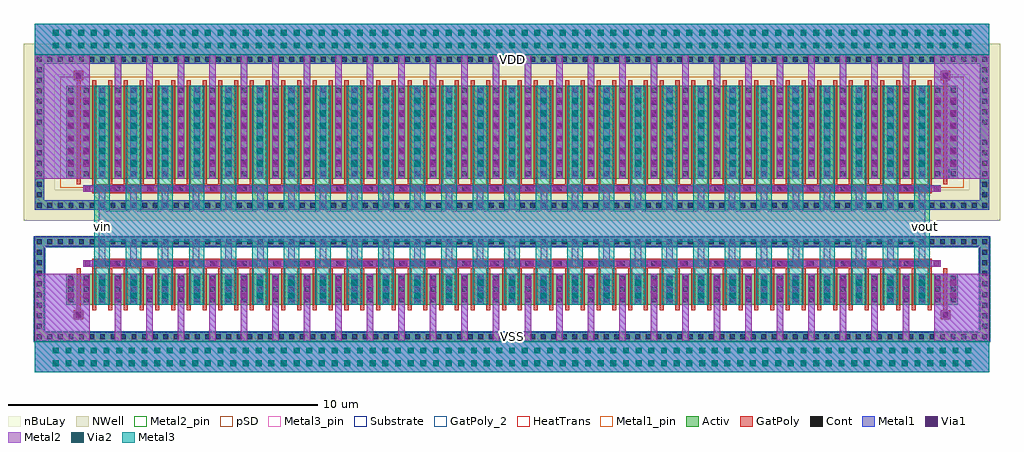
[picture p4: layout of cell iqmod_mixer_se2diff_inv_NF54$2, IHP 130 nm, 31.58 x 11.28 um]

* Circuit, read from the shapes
.subckt iqmod_mixer_se2diff_inv_NF54$2 VDD VSS vin vout
XM1 VSS VSS VSS VSS sg13_lv_nmos w=1u l=0.13u m=2
XM2 vout vin VSS VSS sg13_lv_nmos w=1u l=0.13u m=54
XM3 VDD VDD VDD VDD sg13_lv_pmos w=3u l=0.13u m=2
XM4 vout vin VDD VDD sg13_lv_pmos w=3u l=0.13u m=54
.ends

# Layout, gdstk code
from math import pi, radians
import gdstk
lib = gdstk.Library(unit=1e-6, precision=5e-09)
def R(c, l, rs):  # rectangles x0, y0, x1, y1
    for r in rs: c.add(gdstk.rectangle(r[:2], r[2:], *l))
def A(c, l, x, y, w, h, nx, ny, dx, dy):  # array of equal rectangles
    R(c, l, [(x+i*dx, y+j*dy, x+i*dx+w, y+j*dy+h) for i in range(nx) for j in range(ny)])
def P(c, l, *ps):  # polygons
    for p in ps: c.add(gdstk.Polygon(p, *l))
Activ = (1, 0)
GatPoly = (5, 0)
GatPoly_2 = (5, 2)
Cont = (6, 0)
Metal1 = (8, 0)
Metal1_pin = (8, 2)
Metal2 = (10, 0)
Metal2_pin = (10, 2)
pSD = (14, 0)
Via1 = (19, 0)
Via2 = (29, 0)
Metal3 = (30, 0)
Metal3_pin = (30, 2)
NWell = (31, 0)
nBuLay = (32, 0)
Substrate = (40, 0)
HeatTrans = (51, 0)

pmos_17 = lib.new_cell('pmos$17')
A(pmos_17, Activ, 0, 0, 0.3, 0.3, 57, 1, 0.51, 0)
R(pmos_17, Activ, [(-1.01,-0.71,-0.71,3.71), (29.57,-0.71,29.87,3.71), (0,0,28.86,3), (-1.01,3.71,29.87,4.01)])
P(pmos_17, Activ, [(-1.01,-1.01),(-1.01,3.71),(-0.71,3.71),(-0.71,-0.71),(29.57,-0.71),(29.57,3.71),(-1.01,3.71),(-1.01,4.01),(29.87,4.01),(29.87,-1.01)])
A(pmos_17, GatPoly, 0.34, -0.18, 0.13, 3.36, 56, 1, 0.51, 0)
R(pmos_17, GatPoly, [(0.34,-0.18,0.47,3.18)])
A(pmos_17, Cont, -0.94, -0.94, 0.16, 0.16, 45, 2, 0.34, 4.72)
A(pmos_17, Cont, 14.68, -0.94, 0.16, 0.16, 45, 2, 0.34, 4.72)
A(pmos_17, Cont, -0.94, -0.6, 0.16, 0.16, 1, 6, 0, 0.34)
A(pmos_17, Cont, 29.64, -0.6, 0.16, 0.16, 1, 6, 0, 0.34)
A(pmos_17, Cont, 0.07, 0.07, 0.16, 0.16, 57, 7, 0.51, 0.385)
A(pmos_17, Cont, -0.94, 1.74, 0.16, 0.16, 1, 6, 0, 0.34)
A(pmos_17, Cont, 29.64, 1.74, 0.16, 0.16, 1, 6, 0, 0.34)
A(pmos_17, Cont, 0.07, 2.77, 0.16, 0.16, 57, 1, 0.51, 0)
A(pmos_17, Metal1, 0.58, 0, 0.16, 3, 56, 1, 0.51, 0)
R(pmos_17, Metal1, [(-1.01,-1.01,29.87,-0.71), (-1.01,-0.71,-0.71,3.71), (29.57,-0.71,29.87,3.71), (0.07,0,0.23,3), (0.07,0,0.23,3), (0.58,0,0.74,3), (-1.01,3.71,29.87,4.01)])
R(pmos_17, pSD, [(-0.18,-0.3,29.04,3.3)])
R(pmos_17, NWell, [(-1.36,-1.36,30.22,4.36), (-0.31,-0.31,29.17,3.31)])
R(pmos_17, nBuLay, [(-1.36,-0.36,-0.36,3.36), (29.22,-0.36,30.22,3.36), (-1.36,3.36,30.22,4.36)])
P(pmos_17, nBuLay, [(-1.36,-1.36),(-1.36,3.36),(-0.36,3.36),(-0.36,-0.36),(29.22,-0.36),(29.22,3.36),(-1.36,3.36),(-1.36,4.36),(30.22,4.36),(30.22,-1.36)])
R(pmos_17, Substrate, [(28.56,0,28.86,0.3)])
A(pmos_17, HeatTrans, 0.34, -0.18, 0.13, 3.36, 56, 1, 0.51, 0)
pmos_17.add(gdstk.Label('pmos', (0.405,1.5), layer=63, texttype=0))
pmos_17.add(gdstk.Label('well', (14.43,-0.86), layer=63, texttype=0))
pmos_17.add(gdstk.Label('pmos', (0.405,1.5), layer=51, texttype=0))
pmos_17.add(gdstk.Label('pmos', (0.915,1.5), layer=51, texttype=0))
pmos_17.add(gdstk.Label('pmos', (1.425,1.5), layer=51, texttype=0))
pmos_17.add(gdstk.Label('pmos', (1.935,1.5), layer=51, texttype=0))
pmos_17.add(gdstk.Label('pmos', (2.445,1.5), layer=51, texttype=0))
pmos_17.add(gdstk.Label('pmos', (2.955,1.5), layer=51, texttype=0))
pmos_17.add(gdstk.Label('pmos', (3.465,1.5), layer=51, texttype=0))
pmos_17.add(gdstk.Label('pmos', (3.975,1.5), layer=51, texttype=0))
pmos_17.add(gdstk.Label('pmos', (4.485,1.5), layer=51, texttype=0))
pmos_17.add(gdstk.Label('pmos', (4.995,1.5), layer=51, texttype=0))
pmos_17.add(gdstk.Label('pmos', (5.505,1.5), layer=51, texttype=0))
pmos_17.add(gdstk.Label('pmos', (6.015,1.5), layer=51, texttype=0))
pmos_17.add(gdstk.Label('pmos', (6.525,1.5), layer=51, texttype=0))
pmos_17.add(gdstk.Label('pmos', (7.035,1.5), layer=51, texttype=0))
pmos_17.add(gdstk.Label('pmos', (7.545,1.5), layer=51, texttype=0))
pmos_17.add(gdstk.Label('pmos', (8.055,1.5), layer=51, texttype=0))
pmos_17.add(gdstk.Label('pmos', (8.565,1.5), layer=51, texttype=0))
pmos_17.add(gdstk.Label('pmos', (9.075,1.5), layer=51, texttype=0))
pmos_17.add(gdstk.Label('pmos', (9.585,1.5), layer=51, texttype=0))
pmos_17.add(gdstk.Label('pmos', (10.095,1.5), layer=51, texttype=0))
pmos_17.add(gdstk.Label('pmos', (10.605,1.5), layer=51, texttype=0))
pmos_17.add(gdstk.Label('pmos', (11.115,1.5), layer=51, texttype=0))
pmos_17.add(gdstk.Label('pmos', (11.625,1.5), layer=51, texttype=0))
pmos_17.add(gdstk.Label('pmos', (12.135,1.5), layer=51, texttype=0))
pmos_17.add(gdstk.Label('pmos', (12.645,1.5), layer=51, texttype=0))
pmos_17.add(gdstk.Label('pmos', (13.155,1.5), layer=51, texttype=0))
pmos_17.add(gdstk.Label('pmos', (13.665,1.5), layer=51, texttype=0))
pmos_17.add(gdstk.Label('pmos', (14.175,1.5), layer=51, texttype=0))
pmos_17.add(gdstk.Label('pmos', (14.685,1.5), layer=51, texttype=0))
pmos_17.add(gdstk.Label('pmos', (15.195,1.5), layer=51, texttype=0))
pmos_17.add(gdstk.Label('pmos', (15.705,1.5), layer=51, texttype=0))
pmos_17.add(gdstk.Label('pmos', (16.215,1.5), layer=51, texttype=0))
pmos_17.add(gdstk.Label('pmos', (16.725,1.5), layer=51, texttype=0))
pmos_17.add(gdstk.Label('pmos', (17.235,1.5), layer=51, texttype=0))
pmos_17.add(gdstk.Label('pmos', (17.745,1.5), layer=51, texttype=0))
pmos_17.add(gdstk.Label('pmos', (18.255,1.5), layer=51, texttype=0))
pmos_17.add(gdstk.Label('pmos', (18.765,1.5), layer=51, texttype=0))
pmos_17.add(gdstk.Label('pmos', (19.275,1.5), layer=51, texttype=0))
pmos_17.add(gdstk.Label('pmos', (19.785,1.5), layer=51, texttype=0))
pmos_17.add(gdstk.Label('pmos', (20.295,1.5), layer=51, texttype=0))
pmos_17.add(gdstk.Label('pmos', (20.805,1.5), layer=51, texttype=0))
pmos_17.add(gdstk.Label('pmos', (21.315,1.5), layer=51, texttype=0))
pmos_17.add(gdstk.Label('pmos', (21.825,1.5), layer=51, texttype=0))
pmos_17.add(gdstk.Label('pmos', (22.335,1.5), layer=51, texttype=0))
pmos_17.add(gdstk.Label('pmos', (22.845,1.5), layer=51, texttype=0))
pmos_17.add(gdstk.Label('pmos', (23.355,1.5), layer=51, texttype=0))
pmos_17.add(gdstk.Label('pmos', (23.865,1.5), layer=51, texttype=0))
pmos_17.add(gdstk.Label('pmos', (24.375,1.5), layer=51, texttype=0))
pmos_17.add(gdstk.Label('pmos', (24.885,1.5), layer=51, texttype=0))
pmos_17.add(gdstk.Label('pmos', (25.395,1.5), layer=51, texttype=0))
pmos_17.add(gdstk.Label('pmos', (25.905,1.5), layer=51, texttype=0))
pmos_17.add(gdstk.Label('pmos', (26.415,1.5), layer=51, texttype=0))
pmos_17.add(gdstk.Label('pmos', (26.925,1.5), layer=51, texttype=0))
pmos_17.add(gdstk.Label('pmos', (27.435,1.5), layer=51, texttype=0))
pmos_17.add(gdstk.Label('pmos', (27.945,1.5), layer=51, texttype=0))
pmos_17.add(gdstk.Label('pmos', (28.455,1.5), layer=51, texttype=0))

via_stack_132 = lib.new_cell('via_stack$132')
R(via_stack_132, GatPoly, [(-13.58,-0.15,13.58,0.15)])
A(via_stack_132, Cont, -13.51, -0.08, 0.16, 0.16, 80, 1, 0.34, 0)
R(via_stack_132, Metal1, [(-13.56,-0.08,13.56,0.08)])

nmos_17 = lib.new_cell('nmos$17')
A(nmos_17, Activ, 0, 0, 0.3, 0.3, 57, 1, 0.51, 0)
R(nmos_17, Activ, [(-1.01,-0.89,-0.71,1.89), (29.57,-0.89,29.87,1.89), (0,0,28.86,1), (-1.01,1.89,29.87,2.19)])
P(nmos_17, Activ, [(-1.01,-1.19),(-1.01,1.89),(-0.71,1.89),(-0.71,-0.89),(29.57,-0.89),(29.57,1.89),(-1.01,1.89),(-1.01,2.19),(29.87,2.19),(29.87,-1.19)])
A(nmos_17, GatPoly, 0.34, -0.18, 0.13, 1.36, 56, 1, 0.51, 0)
R(nmos_17, GatPoly_2, [(0.34,-0.18,0.47,1.18)])
A(nmos_17, Cont, -0.94, -1.12, 0.16, 0.16, 45, 2, 0.34, 3.08)
A(nmos_17, Cont, 14.68, -1.12, 0.16, 0.16, 45, 2, 0.34, 3.08)
A(nmos_17, Cont, -0.94, -0.78, 0.16, 0.16, 1, 4, 0, 0.34)
A(nmos_17, Cont, 29.64, -0.78, 0.16, 0.16, 1, 4, 0, 0.34)
A(nmos_17, Cont, 0.07, 0.07, 0.16, 0.16, 57, 3, 0.51, 0.35)
A(nmos_17, Cont, -0.94, 0.6, 0.16, 0.16, 1, 4, 0, 0.34)
A(nmos_17, Cont, 29.64, 0.6, 0.16, 0.16, 1, 4, 0, 0.34)
A(nmos_17, Metal1, 0.07, 0, 0.16, 1, 57, 1, 0.51, 0)
R(nmos_17, Metal1, [(-1.01,-1.19,29.87,-0.89), (-1.01,-0.89,-0.71,1.89), (29.57,-0.89,29.87,1.89), (-1.01,1.89,29.87,2.19)])
R(nmos_17, Metal1_pin, [(0.07,0,0.23,1), (0.58,0,0.74,1)])
R(nmos_17, pSD, [(-1.04,-0.86,-0.68,1.86), (29.54,-0.86,29.9,1.86), (-1.04,1.86,29.9,2.22)])
P(nmos_17, pSD, [(-1.04,-1.22),(-1.04,1.86),(-0.68,1.86),(-0.68,-0.86),(29.54,-0.86),(29.54,1.86),(-1.04,1.86),(-1.04,2.22),(29.9,2.22),(29.9,-1.22)])
R(nmos_17, Substrate, [(-1.04,-0.86,-0.68,1.86), (29.54,-0.86,29.9,1.86), (-1.04,1.86,29.9,2.22)])
P(nmos_17, Substrate, [(-1.04,-1.22),(-1.04,1.86),(-0.68,1.86),(-0.68,-0.86),(29.54,-0.86),(29.54,1.86),(-1.04,1.86),(-1.04,2.22),(29.9,2.22),(29.9,-1.22)])
A(nmos_17, HeatTrans, 0.34, -0.18, 0.13, 1.36, 56, 1, 0.51, 0)
nmos_17.add(gdstk.Label('nmos', (0.405,0.5), layer=63, texttype=0))
nmos_17.add(gdstk.Label('sub!', (14.43,-1.04), layer=63, texttype=0))
nmos_17.add(gdstk.Label('nmos', (0.405,0.5), layer=51, texttype=0))
nmos_17.add(gdstk.Label('nmos', (0.915,0.5), layer=51, texttype=0))
nmos_17.add(gdstk.Label('nmos', (1.425,0.5), layer=51, texttype=0))
nmos_17.add(gdstk.Label('nmos', (1.935,0.5), layer=51, texttype=0))
nmos_17.add(gdstk.Label('nmos', (2.445,0.5), layer=51, texttype=0))
nmos_17.add(gdstk.Label('nmos', (2.955,0.5), layer=51, texttype=0))
nmos_17.add(gdstk.Label('nmos', (3.465,0.5), layer=51, texttype=0))
nmos_17.add(gdstk.Label('nmos', (3.975,0.5), layer=51, texttype=0))
nmos_17.add(gdstk.Label('nmos', (4.485,0.5), layer=51, texttype=0))
nmos_17.add(gdstk.Label('nmos', (4.995,0.5), layer=51, texttype=0))
nmos_17.add(gdstk.Label('nmos', (5.505,0.5), layer=51, texttype=0))
nmos_17.add(gdstk.Label('nmos', (6.015,0.5), layer=51, texttype=0))
nmos_17.add(gdstk.Label('nmos', (6.525,0.5), layer=51, texttype=0))
nmos_17.add(gdstk.Label('nmos', (7.035,0.5), layer=51, texttype=0))
nmos_17.add(gdstk.Label('nmos', (7.545,0.5), layer=51, texttype=0))
nmos_17.add(gdstk.Label('nmos', (8.055,0.5), layer=51, texttype=0))
nmos_17.add(gdstk.Label('nmos', (8.565,0.5), layer=51, texttype=0))
nmos_17.add(gdstk.Label('nmos', (9.075,0.5), layer=51, texttype=0))
nmos_17.add(gdstk.Label('nmos', (9.585,0.5), layer=51, texttype=0))
nmos_17.add(gdstk.Label('nmos', (10.095,0.5), layer=51, texttype=0))
nmos_17.add(gdstk.Label('nmos', (10.605,0.5), layer=51, texttype=0))
nmos_17.add(gdstk.Label('nmos', (11.115,0.5), layer=51, texttype=0))
nmos_17.add(gdstk.Label('nmos', (11.625,0.5), layer=51, texttype=0))
nmos_17.add(gdstk.Label('nmos', (12.135,0.5), layer=51, texttype=0))
nmos_17.add(gdstk.Label('nmos', (12.645,0.5), layer=51, texttype=0))
nmos_17.add(gdstk.Label('nmos', (13.155,0.5), layer=51, texttype=0))
nmos_17.add(gdstk.Label('nmos', (13.665,0.5), layer=51, texttype=0))
nmos_17.add(gdstk.Label('nmos', (14.175,0.5), layer=51, texttype=0))
nmos_17.add(gdstk.Label('nmos', (14.685,0.5), layer=51, texttype=0))
nmos_17.add(gdstk.Label('nmos', (15.195,0.5), layer=51, texttype=0))
nmos_17.add(gdstk.Label('nmos', (15.705,0.5), layer=51, texttype=0))
nmos_17.add(gdstk.Label('nmos', (16.215,0.5), layer=51, texttype=0))
nmos_17.add(gdstk.Label('nmos', (16.725,0.5), layer=51, texttype=0))
nmos_17.add(gdstk.Label('nmos', (17.235,0.5), layer=51, texttype=0))
nmos_17.add(gdstk.Label('nmos', (17.745,0.5), layer=51, texttype=0))
nmos_17.add(gdstk.Label('nmos', (18.255,0.5), layer=51, texttype=0))
nmos_17.add(gdstk.Label('nmos', (18.765,0.5), layer=51, texttype=0))
nmos_17.add(gdstk.Label('nmos', (19.275,0.5), layer=51, texttype=0))
nmos_17.add(gdstk.Label('nmos', (19.785,0.5), layer=51, texttype=0))
nmos_17.add(gdstk.Label('nmos', (20.295,0.5), layer=51, texttype=0))
nmos_17.add(gdstk.Label('nmos', (20.805,0.5), layer=51, texttype=0))
nmos_17.add(gdstk.Label('nmos', (21.315,0.5), layer=51, texttype=0))
nmos_17.add(gdstk.Label('nmos', (21.825,0.5), layer=51, texttype=0))
nmos_17.add(gdstk.Label('nmos', (22.335,0.5), layer=51, texttype=0))
nmos_17.add(gdstk.Label('nmos', (22.845,0.5), layer=51, texttype=0))
nmos_17.add(gdstk.Label('nmos', (23.355,0.5), layer=51, texttype=0))
nmos_17.add(gdstk.Label('nmos', (23.865,0.5), layer=51, texttype=0))
nmos_17.add(gdstk.Label('nmos', (24.375,0.5), layer=51, texttype=0))
nmos_17.add(gdstk.Label('nmos', (24.885,0.5), layer=51, texttype=0))
nmos_17.add(gdstk.Label('nmos', (25.395,0.5), layer=51, texttype=0))
nmos_17.add(gdstk.Label('nmos', (25.905,0.5), layer=51, texttype=0))
nmos_17.add(gdstk.Label('nmos', (26.415,0.5), layer=51, texttype=0))
nmos_17.add(gdstk.Label('nmos', (26.925,0.5), layer=51, texttype=0))
nmos_17.add(gdstk.Label('nmos', (27.435,0.5), layer=51, texttype=0))
nmos_17.add(gdstk.Label('nmos', (27.945,0.5), layer=51, texttype=0))
nmos_17.add(gdstk.Label('nmos', (28.455,0.5), layer=51, texttype=0))

via_stack_133 = lib.new_cell('via_stack$133')
R(via_stack_133, Metal1, [(-0.105,-1.17,0.105,1.17)])
R(via_stack_133, Metal2, [(-0.1,-1.17,0.1,1.17)])
A(via_stack_133, Via1, -0.095, -1.12, 0.19, 0.19, 1, 6, 0, 0.41)
A(via_stack_133, Via2, -0.095, -1.12, 0.19, 0.19, 1, 6, 0, 0.41)
R(via_stack_133, Metal3, [(-0.1,-1.17,0.1,1.17)])

via_stack_134 = lib.new_cell('via_stack$134')
R(via_stack_134, Metal1, [(-0.105,-0.35,0.105,0.35)])
R(via_stack_134, Metal2, [(-0.1,-0.35,0.1,0.35)])
R(via_stack_134, Via1, [(-0.095,-0.3,0.095,-0.11), (-0.095,0.11,0.095,0.3)])
R(via_stack_134, Via2, [(-0.095,-0.3,0.095,-0.11), (-0.095,0.11,0.095,0.3)])
R(via_stack_134, Metal3, [(-0.1,-0.35,0.1,0.35)])

via_stack_135 = lib.new_cell('via_stack$135')
R(via_stack_135, Metal1, [(-13.88,-0.105,13.88,0.105)])
R(via_stack_135, Metal2, [(-13.88,-0.1,13.88,0.1)])
A(via_stack_135, Via1, -13.83, -0.095, 0.19, 0.19, 68, 1, 0.41, 0)

via_stack_136 = lib.new_cell('via_stack$136')
R(via_stack_136, Metal1, [(-14.905,-0.31,14.905,0.31)])
R(via_stack_136, Metal2, [(-14.905,-0.305,14.905,0.305)])
A(via_stack_136, Via1, -14.855, -0.3, 0.19, 0.19, 73, 2, 0.41, 0.41)
A(via_stack_136, Via2, -14.855, -0.3, 0.19, 0.19, 73, 2, 0.41, 0.41)
R(via_stack_136, Metal3, [(-14.905,-0.305,14.905,0.305)])

via_stack_137 = lib.new_cell('via_stack$137')
R(via_stack_137, GatPoly, [(-0.15,-0.15,0.15,0.15)])
R(via_stack_137, Cont, [(-0.08,-0.08,0.08,0.08)])
R(via_stack_137, Metal1, [(-0.145,-0.105,0.145,0.105)])
R(via_stack_137, Metal2, [(-0.145,-0.1,0.145,0.1)])
R(via_stack_137, Via1, [(-0.095,-0.095,0.095,0.095)])

via_stack_138 = lib.new_cell('via_stack$138')
R(via_stack_138, Metal1, [(-0.105,-1.17,0.105,1.17)])
R(via_stack_138, Metal2, [(-0.1,-1.17,0.1,1.17)])
A(via_stack_138, Via1, -0.095, -1.12, 0.19, 0.19, 1, 6, 0, 0.41)

via_stack_139 = lib.new_cell('via_stack$139')
R(via_stack_139, Metal1, [(-0.105,-0.35,0.105,0.35)])
R(via_stack_139, Metal2, [(-0.1,-0.35,0.1,0.35)])
R(via_stack_139, Via1, [(-0.095,-0.3,0.095,-0.11), (-0.095,0.11,0.095,0.3)])

iqmod_mixer_se2diff_inv_ = lib.new_cell('iqmod_mixer_se2diff_inv_NF54$2')
A(iqmod_mixer_se2diff_inv_, Metal1, 2.935, 1, 0.21, 2.19, 26, 1, 1.02, 0)
A(iqmod_mixer_se2diff_inv_, Metal1, 2.425, 2.19, 0.21, 1, 4, 1, 1.02, 0)
A(iqmod_mixer_se2diff_inv_, Metal1, 10.585, 2.19, 0.21, 1, 4, 1, 1.02, 0)
A(iqmod_mixer_se2diff_inv_, Metal1, 18.745, 2.19, 0.21, 1, 4, 1, 1.02, 0)
A(iqmod_mixer_se2diff_inv_, Metal1, 26.905, 2.19, 0.21, 1, 3, 1, 1.02, 0)
A(iqmod_mixer_se2diff_inv_, Metal1, 2.425, 6.27, 0.21, 3, 27, 1, 1.02, 0)
A(iqmod_mixer_se2diff_inv_, Metal1, 2.935, 6.27, 0.21, 4.01, 26, 1, 1.02, 0)
R(iqmod_mixer_se2diff_inv_, Metal1, [(0.35,0,31.23,1), (0.35,1,2.125,3.19), (15.54,1,16.04,1.3), (29.455,1,31.23,3.19), (1.615,1.71,1.915,2.01), (29.665,1.71,29.965,2.01), (2.425,2.19,2.635,3.19), (5.485,2.19,5.695,3.19), (6.505,2.19,6.715,3.19), (6.505,2.19,6.715,3.19), (7.525,2.19,7.735,3.19), (7.525,2.19,7.735,3.19), (8.545,2.19,8.755,3.19), (8.545,2.19,8.755,3.19), (9.565,2.19,9.775,3.19), (9.565,2.19,9.775,3.19), (10.585,2.19,10.795,3.19), (13.645,2.19,13.855,3.19), (14.665,2.19,14.875,3.19), (14.665,2.19,14.875,3.19), (15.685,2.19,15.895,3.19), (15.685,2.19,15.895,3.19), (16.705,2.19,16.915,3.19), (16.705,2.19,16.915,3.19), (17.725,2.19,17.935,3.19), (17.725,2.19,17.935,3.19), (18.745,2.19,18.955,3.19), (21.805,2.19,22.015,3.19), (22.825,2.19,23.035,3.19), (22.825,2.19,23.035,3.19), (23.845,2.19,24.055,3.19), (23.845,2.19,24.055,3.19), (24.865,2.19,25.075,3.19), (24.865,2.19,25.075,3.19), (25.885,2.19,26.095,3.19), (25.885,2.19,26.095,3.19), (26.905,2.19,27.115,3.19), (0.35,6.27,2.125,10.28), (29.455,6.27,31.23,10.28), (1.615,9.45,1.915,9.75), (29.665,9.45,29.965,9.75), (15.54,9.98,16.04,10.28), (0.35,10.28,31.23,11.28)])
R(iqmod_mixer_se2diff_inv_, Metal1_pin, [(15.665,1.025,15.915,1.275), (15.665,10.005,15.915,10.255)])
A(iqmod_mixer_se2diff_inv_, Metal2, 2.935, 1, 0.21, 2.19, 26, 1, 1.02, 0)
A(iqmod_mixer_se2diff_inv_, Metal2, 2.425, 2.19, 0.21, 1, 27, 1, 1.02, 0)
A(iqmod_mixer_se2diff_inv_, Metal2, 2.425, 3.62, 0.21, 2.22, 3, 1, 1.02, 0)
A(iqmod_mixer_se2diff_inv_, Metal2, 8.545, 3.62, 0.21, 2.22, 6, 1, 1.02, 0)
A(iqmod_mixer_se2diff_inv_, Metal2, 17.725, 3.62, 0.21, 2.22, 3, 1, 1.02, 0)
A(iqmod_mixer_se2diff_inv_, Metal2, 19.765, 3.62, 0.21, 2.22, 3, 1, 1.02, 0)
A(iqmod_mixer_se2diff_inv_, Metal2, 25.885, 3.62, 0.21, 2.22, 4, 1, 1.02, 0)
A(iqmod_mixer_se2diff_inv_, Metal2, 2.425, 6.27, 0.21, 3, 27, 1, 1.02, 0)
A(iqmod_mixer_se2diff_inv_, Metal2, 2.935, 6.27, 0.21, 4.01, 26, 1, 1.02, 0)
R(iqmod_mixer_se2diff_inv_, Metal2, [(0.35,0,31.23,1), (0.35,1,2.125,3.19), (29.455,1,31.23,3.19), (1.615,1.71,1.915,2.01), (29.665,1.71,29.965,2.01), (5.465,3.62,5.675,5.84), (6.505,3.62,6.715,5.84), (7.54,3.62,7.75,5.84), (14.645,3.62,14.855,5.84), (15.685,3.62,15.895,5.84), (16.72,3.62,16.93,5.84), (22.805,3.62,23.015,5.84), (23.845,3.62,24.055,5.84), (24.88,3.62,25.09,5.84), (2.425,4.23,29.155,5.23), (2.425,4.23,10.795,5.23), (0.35,6.27,2.125,10.28), (29.455,6.27,31.23,10.28), (1.615,9.45,1.915,9.75), (29.665,9.45,29.965,9.75), (0.35,10.28,31.23,11.28)])
R(iqmod_mixer_se2diff_inv_, Metal2_pin, [(2.425,4.605,2.675,4.855)])
A(iqmod_mixer_se2diff_inv_, Metal3, 2.28, 2.19, 0.5, 7.08, 27, 1, 1.02, 0)
A(iqmod_mixer_se2diff_inv_, Metal3, 2.425, 2.19, 0.21, 1, 27, 1, 1.02, 0)
A(iqmod_mixer_se2diff_inv_, Metal3, 2.425, 6.27, 0.21, 3, 27, 1, 1.02, 0)
R(iqmod_mixer_se2diff_inv_, Metal3, [(0.35,0,31.23,1), (2.28,4.23,29.3,5.23), (0.35,10.28,31.23,11.28)])
R(iqmod_mixer_se2diff_inv_, Metal3_pin, [(29.05,4.605,29.3,4.855)])
iqmod_mixer_se2diff_inv_.add(gdstk.Reference(pmos_17, (1.36,6.27)))
iqmod_mixer_se2diff_inv_.add(gdstk.Reference(via_stack_132, (15.79,5.94)))
iqmod_mixer_se2diff_inv_.add(gdstk.Reference(nmos_17, (1.36,2.19)))
iqmod_mixer_se2diff_inv_.add(gdstk.Reference(via_stack_132, (15.79,3.52)))
iqmod_mixer_se2diff_inv_.add(gdstk.Reference(via_stack_133, (15.79,7.77)))
iqmod_mixer_se2diff_inv_.add(gdstk.Reference(via_stack_134, (15.79,2.69)))
iqmod_mixer_se2diff_inv_.add(gdstk.Reference(via_stack_135, (15.79,5.94)))
iqmod_mixer_se2diff_inv_.add(gdstk.Reference(via_stack_135, (15.79,3.52)))
iqmod_mixer_se2diff_inv_.add(gdstk.Reference(via_stack_136, (15.79,10.78)))
iqmod_mixer_se2diff_inv_.add(gdstk.Reference(via_stack_136, (15.79,0.5)))
iqmod_mixer_se2diff_inv_.add(gdstk.Reference(via_stack_133, (19.87,7.77)))
iqmod_mixer_se2diff_inv_.add(gdstk.Reference(via_stack_133, (20.89,7.77)))
iqmod_mixer_se2diff_inv_.add(gdstk.Reference(via_stack_133, (22.93,7.77)))
iqmod_mixer_se2diff_inv_.add(gdstk.Reference(via_stack_133, (24.97,7.77)))
iqmod_mixer_se2diff_inv_.add(gdstk.Reference(via_stack_133, (23.95,7.77)))
iqmod_mixer_se2diff_inv_.add(gdstk.Reference(via_stack_133, (21.91,7.77)))
iqmod_mixer_se2diff_inv_.add(gdstk.Reference(via_stack_133, (25.99,7.77)))
iqmod_mixer_se2diff_inv_.add(gdstk.Reference(via_stack_133, (27.01,7.77)))
iqmod_mixer_se2diff_inv_.add(gdstk.Reference(via_stack_133, (28.03,7.77)))
iqmod_mixer_se2diff_inv_.add(gdstk.Reference(via_stack_133, (16.81,7.77)))
iqmod_mixer_se2diff_inv_.add(gdstk.Reference(via_stack_133, (29.05,7.77)))
iqmod_mixer_se2diff_inv_.add(gdstk.Reference(via_stack_133, (17.83,7.77)))
iqmod_mixer_se2diff_inv_.add(gdstk.Reference(via_stack_133, (18.85,7.77)))
iqmod_mixer_se2diff_inv_.add(gdstk.Reference(via_stack_137, (29.815,9.6), rotation=pi, x_reflection=True))
iqmod_mixer_se2diff_inv_.add(gdstk.Reference(via_stack_138, (30.07,7.77), rotation=pi, x_reflection=True))
iqmod_mixer_se2diff_inv_.add(gdstk.Reference(via_stack_138, (29.56,7.77), rotation=pi, x_reflection=True))
iqmod_mixer_se2diff_inv_.add(gdstk.Reference(via_stack_138, (18.34,7.77)))
iqmod_mixer_se2diff_inv_.add(gdstk.Reference(via_stack_138, (17.32,7.77)))
iqmod_mixer_se2diff_inv_.add(gdstk.Reference(via_stack_138, (16.3,7.77)))
iqmod_mixer_se2diff_inv_.add(gdstk.Reference(via_stack_138, (19.36,7.77)))
iqmod_mixer_se2diff_inv_.add(gdstk.Reference(via_stack_138, (26.5,7.77)))
iqmod_mixer_se2diff_inv_.add(gdstk.Reference(via_stack_138, (25.48,7.77)))
iqmod_mixer_se2diff_inv_.add(gdstk.Reference(via_stack_138, (24.46,7.77)))
iqmod_mixer_se2diff_inv_.add(gdstk.Reference(via_stack_138, (23.44,7.77)))
iqmod_mixer_se2diff_inv_.add(gdstk.Reference(via_stack_138, (22.42,7.77)))
iqmod_mixer_se2diff_inv_.add(gdstk.Reference(via_stack_138, (21.4,7.77)))
iqmod_mixer_se2diff_inv_.add(gdstk.Reference(via_stack_138, (20.38,7.77)))
iqmod_mixer_se2diff_inv_.add(gdstk.Reference(via_stack_138, (27.52,7.77)))
iqmod_mixer_se2diff_inv_.add(gdstk.Reference(via_stack_138, (28.54,7.77)))
iqmod_mixer_se2diff_inv_.add(gdstk.Reference(via_stack_133, (7.63,7.77)))
iqmod_mixer_se2diff_inv_.add(gdstk.Reference(via_stack_133, (8.65,7.77)))
iqmod_mixer_se2diff_inv_.add(gdstk.Reference(via_stack_133, (6.61,7.77)))
iqmod_mixer_se2diff_inv_.add(gdstk.Reference(via_stack_138, (11.2,7.77)))
iqmod_mixer_se2diff_inv_.add(gdstk.Reference(via_stack_133, (4.57,7.77)))
iqmod_mixer_se2diff_inv_.add(gdstk.Reference(via_stack_133, (3.55,7.77)))
iqmod_mixer_se2diff_inv_.add(gdstk.Reference(via_stack_133, (11.71,7.77)))
iqmod_mixer_se2diff_inv_.add(gdstk.Reference(via_stack_138, (15.28,7.77)))
iqmod_mixer_se2diff_inv_.add(gdstk.Reference(via_stack_138, (14.26,7.77)))
iqmod_mixer_se2diff_inv_.add(gdstk.Reference(via_stack_138, (13.24,7.77)))
iqmod_mixer_se2diff_inv_.add(gdstk.Reference(via_stack_138, (12.22,7.77)))
iqmod_mixer_se2diff_inv_.add(gdstk.Reference(via_stack_133, (12.73,7.77)))
iqmod_mixer_se2diff_inv_.add(gdstk.Reference(via_stack_138, (3.04,7.77)))
iqmod_mixer_se2diff_inv_.add(gdstk.Reference(via_stack_138, (10.18,7.77)))
iqmod_mixer_se2diff_inv_.add(gdstk.Reference(via_stack_138, (9.16,7.77)))
iqmod_mixer_se2diff_inv_.add(gdstk.Reference(via_stack_138, (8.14,7.77)))
iqmod_mixer_se2diff_inv_.add(gdstk.Reference(via_stack_138, (7.12,7.77)))
iqmod_mixer_se2diff_inv_.add(gdstk.Reference(via_stack_138, (6.1,7.77)))
iqmod_mixer_se2diff_inv_.add(gdstk.Reference(via_stack_138, (5.08,7.77)))
iqmod_mixer_se2diff_inv_.add(gdstk.Reference(via_stack_138, (4.06,7.77)))
iqmod_mixer_se2diff_inv_.add(gdstk.Reference(via_stack_133, (14.77,7.77)))
iqmod_mixer_se2diff_inv_.add(gdstk.Reference(via_stack_133, (2.53,7.77)))
iqmod_mixer_se2diff_inv_.add(gdstk.Reference(via_stack_133, (9.67,7.77)))
iqmod_mixer_se2diff_inv_.add(gdstk.Reference(via_stack_133, (13.75,7.77)))
iqmod_mixer_se2diff_inv_.add(gdstk.Reference(via_stack_133, (10.69,7.77)))
iqmod_mixer_se2diff_inv_.add(gdstk.Reference(via_stack_133, (5.59,7.77)))
iqmod_mixer_se2diff_inv_.add(gdstk.Reference(via_stack_137, (1.765,9.6)))
iqmod_mixer_se2diff_inv_.add(gdstk.Reference(via_stack_138, (1.51,7.77)))
iqmod_mixer_se2diff_inv_.add(gdstk.Reference(via_stack_138, (2.02,7.77)))
iqmod_mixer_se2diff_inv_.add(gdstk.Reference(via_stack_134, (8.65,2.69)))
iqmod_mixer_se2diff_inv_.add(gdstk.Reference(via_stack_134, (10.69,2.69)))
iqmod_mixer_se2diff_inv_.add(gdstk.Reference(via_stack_134, (7.63,2.69)))
iqmod_mixer_se2diff_inv_.add(gdstk.Reference(via_stack_137, (1.765,1.86)))
iqmod_mixer_se2diff_inv_.add(gdstk.Reference(via_stack_139, (2.02,2.69)))
iqmod_mixer_se2diff_inv_.add(gdstk.Reference(via_stack_139, (1.51,2.69)))
iqmod_mixer_se2diff_inv_.add(gdstk.Reference(via_stack_134, (11.71,2.69)))
iqmod_mixer_se2diff_inv_.add(gdstk.Reference(via_stack_134, (12.73,2.69)))
iqmod_mixer_se2diff_inv_.add(gdstk.Reference(via_stack_134, (13.75,2.69)))
iqmod_mixer_se2diff_inv_.add(gdstk.Reference(via_stack_134, (14.77,2.69)))
iqmod_mixer_se2diff_inv_.add(gdstk.Reference(via_stack_134, (5.59,2.69)))
iqmod_mixer_se2diff_inv_.add(gdstk.Reference(via_stack_134, (9.67,2.69)))
iqmod_mixer_se2diff_inv_.add(gdstk.Reference(via_stack_134, (2.53,2.69)))
iqmod_mixer_se2diff_inv_.add(gdstk.Reference(via_stack_134, (3.55,2.69)))
iqmod_mixer_se2diff_inv_.add(gdstk.Reference(via_stack_134, (4.57,2.69)))
iqmod_mixer_se2diff_inv_.add(gdstk.Reference(via_stack_139, (11.2,2.69)))
iqmod_mixer_se2diff_inv_.add(gdstk.Reference(via_stack_139, (13.24,2.69)))
iqmod_mixer_se2diff_inv_.add(gdstk.Reference(via_stack_139, (12.22,2.69)))
iqmod_mixer_se2diff_inv_.add(gdstk.Reference(via_stack_139, (14.26,2.69)))
iqmod_mixer_se2diff_inv_.add(gdstk.Reference(via_stack_139, (15.28,2.69)))
iqmod_mixer_se2diff_inv_.add(gdstk.Reference(via_stack_134, (6.61,2.69)))
iqmod_mixer_se2diff_inv_.add(gdstk.Reference(via_stack_139, (3.04,2.69)))
iqmod_mixer_se2diff_inv_.add(gdstk.Reference(via_stack_139, (5.08,2.69)))
iqmod_mixer_se2diff_inv_.add(gdstk.Reference(via_stack_139, (4.06,2.69)))
iqmod_mixer_se2diff_inv_.add(gdstk.Reference(via_stack_139, (6.1,2.69)))
iqmod_mixer_se2diff_inv_.add(gdstk.Reference(via_stack_139, (7.12,2.69)))
iqmod_mixer_se2diff_inv_.add(gdstk.Reference(via_stack_139, (8.14,2.69)))
iqmod_mixer_se2diff_inv_.add(gdstk.Reference(via_stack_139, (9.16,2.69)))
iqmod_mixer_se2diff_inv_.add(gdstk.Reference(via_stack_139, (10.18,2.69)))
iqmod_mixer_se2diff_inv_.add(gdstk.Reference(via_stack_134, (24.97,2.69)))
iqmod_mixer_se2diff_inv_.add(gdstk.Reference(via_stack_134, (27.01,2.69)))
iqmod_mixer_se2diff_inv_.add(gdstk.Reference(via_stack_134, (23.95,2.69)))
iqmod_mixer_se2diff_inv_.add(gdstk.Reference(via_stack_134, (21.91,2.69)))
iqmod_mixer_se2diff_inv_.add(gdstk.Reference(via_stack_134, (25.99,2.69)))
iqmod_mixer_se2diff_inv_.add(gdstk.Reference(via_stack_134, (28.03,2.69)))
iqmod_mixer_se2diff_inv_.add(gdstk.Reference(via_stack_139, (30.07,2.69), rotation=pi, x_reflection=True))
iqmod_mixer_se2diff_inv_.add(gdstk.Reference(via_stack_139, (16.3,2.69)))
iqmod_mixer_se2diff_inv_.add(gdstk.Reference(via_stack_139, (29.56,2.69), rotation=pi, x_reflection=True))
iqmod_mixer_se2diff_inv_.add(gdstk.Reference(via_stack_139, (17.32,2.69)))
iqmod_mixer_se2diff_inv_.add(gdstk.Reference(via_stack_139, (18.34,2.69)))
iqmod_mixer_se2diff_inv_.add(gdstk.Reference(via_stack_139, (19.36,2.69)))
iqmod_mixer_se2diff_inv_.add(gdstk.Reference(via_stack_137, (29.815,1.86), rotation=pi, x_reflection=True))
iqmod_mixer_se2diff_inv_.add(gdstk.Reference(via_stack_134, (29.05,2.69)))
iqmod_mixer_se2diff_inv_.add(gdstk.Reference(via_stack_134, (18.85,2.69)))
iqmod_mixer_se2diff_inv_.add(gdstk.Reference(via_stack_134, (17.83,2.69)))
iqmod_mixer_se2diff_inv_.add(gdstk.Reference(via_stack_134, (19.87,2.69)))
iqmod_mixer_se2diff_inv_.add(gdstk.Reference(via_stack_134, (20.89,2.69)))
iqmod_mixer_se2diff_inv_.add(gdstk.Reference(via_stack_134, (16.81,2.69)))
iqmod_mixer_se2diff_inv_.add(gdstk.Reference(via_stack_134, (22.93,2.69)))
iqmod_mixer_se2diff_inv_.add(gdstk.Reference(via_stack_139, (21.4,2.69)))
iqmod_mixer_se2diff_inv_.add(gdstk.Reference(via_stack_139, (20.38,2.69)))
iqmod_mixer_se2diff_inv_.add(gdstk.Reference(via_stack_139, (22.42,2.69)))
iqmod_mixer_se2diff_inv_.add(gdstk.Reference(via_stack_139, (23.44,2.69)))
iqmod_mixer_se2diff_inv_.add(gdstk.Reference(via_stack_139, (24.46,2.69)))
iqmod_mixer_se2diff_inv_.add(gdstk.Reference(via_stack_139, (25.48,2.69)))
iqmod_mixer_se2diff_inv_.add(gdstk.Reference(via_stack_139, (26.5,2.69)))
iqmod_mixer_se2diff_inv_.add(gdstk.Reference(via_stack_139, (27.52,2.69)))
iqmod_mixer_se2diff_inv_.add(gdstk.Reference(via_stack_139, (28.54,2.69)))
iqmod_mixer_se2diff_inv_.add(gdstk.Label('vin', (2.55,4.73), layer=10, texttype=25))
iqmod_mixer_se2diff_inv_.add(gdstk.Label('VDD', (15.79,10.13), layer=8, texttype=25))
iqmod_mixer_se2diff_inv_.add(gdstk.Label('VSS', (15.79,1.15), layer=8, texttype=25))
iqmod_mixer_se2diff_inv_.add(gdstk.Label('vout', (29.175,4.73), layer=30, texttype=25))

lib.write_gds('iqmod_mixer_se2diff_inv_NF54_2.gds')
